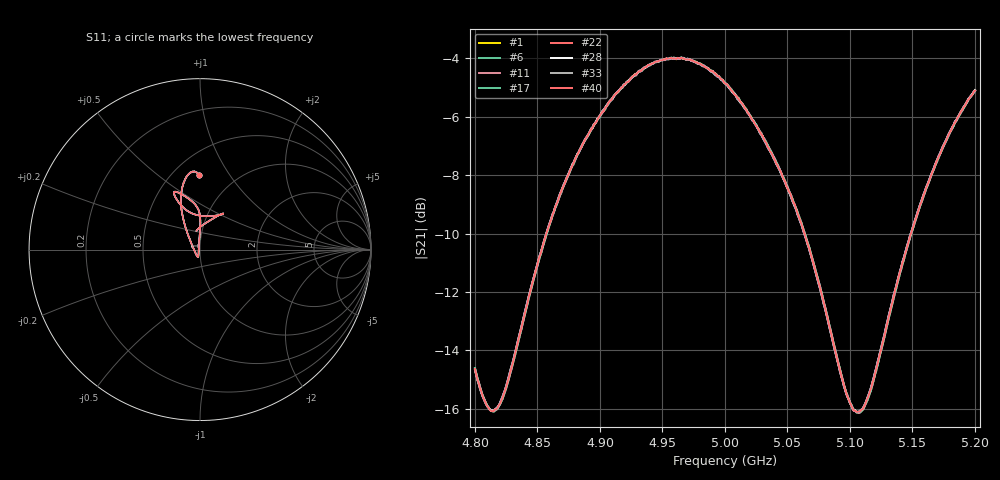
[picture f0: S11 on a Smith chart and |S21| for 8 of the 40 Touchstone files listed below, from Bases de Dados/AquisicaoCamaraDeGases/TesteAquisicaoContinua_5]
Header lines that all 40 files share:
! Network Analyzer HP8722D
! Hewlett-Packard
! Data name: Linha & Wilkinson
! Saver's name: Rodrigo Anjos
! Comments: Teste da utilização de aquisição
! continua pelo VNA HP8722D
!  Frequency  S11  S21  S12  S22
# HZ  S  MA R 50
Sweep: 4.8 GHz to 5.2 GHz
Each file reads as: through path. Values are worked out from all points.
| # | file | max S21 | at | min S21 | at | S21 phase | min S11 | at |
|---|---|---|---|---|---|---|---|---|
| 1 | teste_arseco&borbulhador_Acetona_10-80_80.S2P | -3.98 dB | 4.965 GHz | -16.1 dB | 5.107 GHz | -89 deg at 5 GHz | -42.7 dB | 4.928 GHz |
| 2 | teste_arseco&borbulhador_Acetona_10-80_81.S2P | -3.97 dB | 4.963 GHz | -16.1 dB | 5.106 GHz | -89 deg at 5 GHz | -43.0 dB | 4.928 GHz |
| 3 | teste_arseco&borbulhador_Acetona_10-80_82.S2P | -3.97 dB | 4.959 GHz | -16.1 dB | 5.105 GHz | -89 deg at 5 GHz | -43.3 dB | 4.928 GHz |
| 4 | teste_arseco&borbulhador_Acetona_10-80_83.S2P | -3.97 dB | 4.957 GHz | -16.1 dB | 5.107 GHz | -89 deg at 5 GHz | -43.2 dB | 4.928 GHz |
| 5 | teste_arseco&borbulhador_Acetona_10-80_84.S2P | -3.97 dB | 4.965 GHz | -16.1 dB | 5.106 GHz | -89 deg at 5 GHz | -43.1 dB | 4.928 GHz |
| 6 | teste_arseco&borbulhador_Acetona_10-80_85.S2P | -3.96 dB | 4.965 GHz | -16.1 dB | 5.107 GHz | -89 deg at 5 GHz | -43.2 dB | 4.928 GHz |
| 7 | teste_arseco&borbulhador_Acetona_10-80_86.S2P | -3.97 dB | 4.965 GHz | -16.1 dB | 5.105 GHz | -89 deg at 5 GHz | -43.3 dB | 4.928 GHz |
| 8 | teste_arseco&borbulhador_Acetona_10-80_87.S2P | -3.97 dB | 4.959 GHz | -16.1 dB | 5.107 GHz | -89 deg at 5 GHz | -43.3 dB | 4.928 GHz |
| 9 | teste_arseco&borbulhador_Acetona_10-80_88.S2P | -3.96 dB | 4.965 GHz | -16.1 dB | 5.106 GHz | -89 deg at 5 GHz | -43.3 dB | 4.928 GHz |
| 10 | teste_arseco&borbulhador_Acetona_10-80_89.S2P | -3.98 dB | 4.965 GHz | -16.1 dB | 5.107 GHz | -89 deg at 5 GHz | -43.0 dB | 4.928 GHz |
| 11 | teste_arseco&borbulhador_Acetona_10-80_90.S2P | -3.98 dB | 4.965 GHz | -16.1 dB | 5.107 GHz | -89 deg at 5 GHz | -43.1 dB | 4.928 GHz |
| 12 | teste_arseco&borbulhador_Acetona_10-80_91.S2P | -3.96 dB | 4.965 GHz | -16.1 dB | 5.107 GHz | -89 deg at 5 GHz | -43.4 dB | 4.928 GHz |
| 13 | teste_arseco&borbulhador_Acetona_10-80_92.S2P | -3.98 dB | 4.965 GHz | -16.1 dB | 5.108 GHz | -89 deg at 5 GHz | -43.1 dB | 4.928 GHz |
| 14 | teste_arseco&borbulhador_Acetona_10-80_93.S2P | -3.99 dB | 4.957 GHz | -16.1 dB | 5.107 GHz | -89 deg at 5 GHz | -43.4 dB | 4.928 GHz |
| 15 | teste_arseco&borbulhador_Acetona_10-80_94.S2P | -3.96 dB | 4.959 GHz | -16.1 dB | 5.106 GHz | -89 deg at 5 GHz | -43.6 dB | 4.928 GHz |
| 16 | teste_arseco&borbulhador_Acetona_10-80_95.S2P | -3.97 dB | 4.963 GHz | -16.1 dB | 5.107 GHz | -89 deg at 5 GHz | -42.9 dB | 4.928 GHz |
| 17 | teste_arseco&borbulhador_Acetona_10-80_96.S2P | -3.96 dB | 4.959 GHz | -16.1 dB | 5.106 GHz | -89 deg at 5 GHz | -43.3 dB | 4.928 GHz |
| 18 | teste_arseco&borbulhador_Acetona_10-80_97.S2P | -3.97 dB | 4.963 GHz | -16.1 dB | 5.105 GHz | -89 deg at 5 GHz | -43.9 dB | 4.928 GHz |
| 19 | teste_arseco&borbulhador_Acetona_10-80_98.S2P | -3.97 dB | 4.965 GHz | -16.1 dB | 5.106 GHz | -89 deg at 5 GHz | -43.3 dB | 4.928 GHz |
| 20 | teste_arseco&borbulhador_Acetona_10-80_99.S2P | -3.97 dB | 4.965 GHz | -16.1 dB | 5.106 GHz | -89 deg at 5 GHz | -43.2 dB | 4.928 GHz |
| 21 | teste_arseco&borbulhador_Acetona_10-80_100.S2P | -3.98 dB | 4.957 GHz | -16.1 dB | 5.105 GHz | -89 deg at 5 GHz | -42.5 dB | 4.928 GHz |
| 22 | teste_arseco&borbulhador_Acetona_10-80_101.S2P | -3.97 dB | 4.965 GHz | -16.1 dB | 5.107 GHz | -89 deg at 5 GHz | -42.2 dB | 4.928 GHz |
| 23 | teste_arseco&borbulhador_Acetona_10-80_102.S2P | -3.97 dB | 4.965 GHz | -16.1 dB | 5.105 GHz | -89 deg at 5 GHz | -42.7 dB | 4.928 GHz |
| 24 | teste_arseco&borbulhador_Acetona_10-80_103.S2P | -3.97 dB | 4.959 GHz | -16.1 dB | 5.106 GHz | -89 deg at 5 GHz | -42.2 dB | 4.928 GHz |
| 25 | teste_arseco&borbulhador_Acetona_10-80_104.S2P | -3.97 dB | 4.965 GHz | -16.1 dB | 5.105 GHz | -89 deg at 5 GHz | -42.2 dB | 4.928 GHz |
| 26 | teste_arseco&borbulhador_Acetona_10-80_105.S2P | -3.96 dB | 4.959 GHz | -16.1 dB | 5.105 GHz | -89 deg at 5 GHz | -42.2 dB | 4.928 GHz |
| 27 | teste_arseco&borbulhador_Acetona_10-80_106.S2P | -3.98 dB | 4.963 GHz | -16.1 dB | 5.105 GHz | -89 deg at 5 GHz | -42.4 dB | 4.928 GHz |
| 28 | teste_arseco&borbulhador_Acetona_10-80_107.S2P | -3.97 dB | 4.957 GHz | -16.1 dB | 5.106 GHz | -89 deg at 5 GHz | -41.9 dB | 4.928 GHz |
| 29 | teste_arseco&borbulhador_Acetona_10-80_108.S2P | -3.97 dB | 4.957 GHz | -16.1 dB | 5.106 GHz | -89 deg at 5 GHz | -42.3 dB | 4.928 GHz |
| 30 | teste_arseco&borbulhador_Acetona_10-80_109.S2P | -3.97 dB | 4.964 GHz | -16.1 dB | 5.106 GHz | -89 deg at 5 GHz | -42.2 dB | 4.928 GHz |
| 31 | teste_arseco&borbulhador_Acetona_10-80_110.S2P | -3.98 dB | 4.959 GHz | -16.1 dB | 5.106 GHz | -89 deg at 5 GHz | -41.8 dB | 4.928 GHz |
| 32 | teste_arseco&borbulhador_Acetona_10-80_111.S2P | -3.97 dB | 4.958 GHz | -16.1 dB | 5.106 GHz | -89 deg at 5 GHz | -42.0 dB | 4.928 GHz |
| 33 | teste_arseco&borbulhador_Acetona_10-80_112.S2P | -3.98 dB | 4.965 GHz | -16.1 dB | 5.105 GHz | -89 deg at 5 GHz | -42.1 dB | 4.928 GHz |
| 34 | teste_arseco&borbulhador_Acetona_10-80_113.S2P | -3.98 dB | 4.963 GHz | -16.1 dB | 5.107 GHz | -89 deg at 5 GHz | -41.7 dB | 4.928 GHz |
| 35 | teste_arseco&borbulhador_Acetona_10-80_114.S2P | -3.97 dB | 4.959 GHz | -16.1 dB | 5.106 GHz | -89 deg at 5 GHz | -41.8 dB | 4.928 GHz |
| 36 | teste_arseco&borbulhador_Acetona_10-80_115.S2P | -3.98 dB | 4.963 GHz | -16.1 dB | 5.105 GHz | -89 deg at 5 GHz | -41.4 dB | 4.928 GHz |
| 37 | teste_arseco&borbulhador_Acetona_10-80_116.S2P | -3.98 dB | 4.959 GHz | -16.1 dB | 5.106 GHz | -89 deg at 5 GHz | -41.6 dB | 4.928 GHz |
| 38 | teste_arseco&borbulhador_Acetona_10-80_117.S2P | -3.98 dB | 4.959 GHz | -16.1 dB | 5.106 GHz | -89 deg at 5 GHz | -41.6 dB | 4.928 GHz |
| 39 | teste_arseco&borbulhador_Acetona_10-80_118.S2P | -3.97 dB | 4.965 GHz | -16.1 dB | 5.105 GHz | -89 deg at 5 GHz | -41.9 dB | 4.928 GHz |
| 40 | teste_arseco&borbulhador_Acetona_10-80_119.S2P | -3.97 dB | 4.965 GHz | -16.1 dB | 5.105 GHz | -89 deg at 5 GHz | -42.3 dB | 4.928 GHz |
